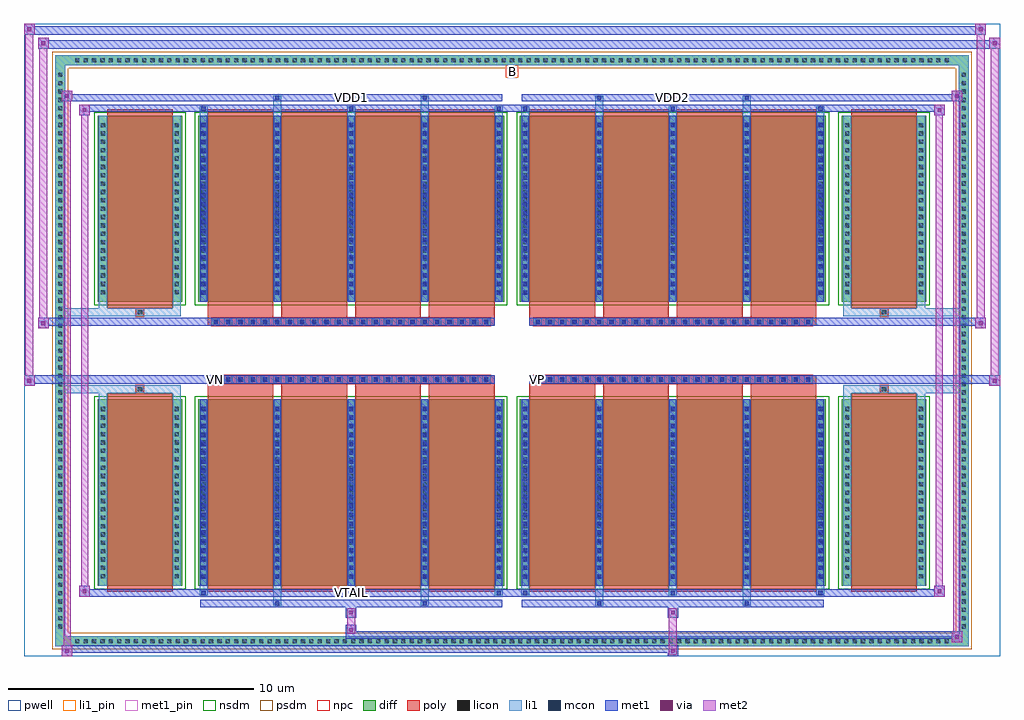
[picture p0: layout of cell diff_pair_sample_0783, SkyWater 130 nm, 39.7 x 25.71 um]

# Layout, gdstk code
import gdstk
lib = gdstk.Library(unit=1e-6, precision=5e-09)
def R(c, l, rs):  # rectangles x0, y0, x1, y1
    for r in rs: c.add(gdstk.rectangle(r[:2], r[2:], *l))
def A(c, l, x, y, w, h, nx, ny, dx, dy):  # array of equal rectangles
    R(c, l, [(x+i*dx, y+j*dy, x+i*dx+w, y+j*dy+h) for i in range(nx) for j in range(ny)])
def P(c, l, *ps):  # polygons
    for p in ps: c.add(gdstk.Polygon(p, *l))
pwell = (64, 44)
diff = (65, 20)
poly = (66, 20)
licon = (66, 44)
li1_pin = (67, 16)
li1 = (67, 20)
mcon = (67, 44)
met1_pin = (68, 16)
met1 = (68, 20)
via = (68, 44)
met2 = (69, 20)
nsdm = (93, 44)
psdm = (94, 20)
npc = (95, 20)

diff_pair_sample_0783 = lib.new_cell('diff_pair_sample_0783')
R(diff_pair_sample_0783, pwell, [(-19.85,-12.42,19.85,13.29), (-17.17,-10.61,-0.01,-0.805), (0.01,-10.61,17.17,-0.805), (-17.17,0.805,-0.01,10.61), (0.01,0.805,17.17,10.61)])
A(diff_pair_sample_0783, diff, -17.885, -12.02, 0.41, 0.41, 105, 2, 0.34, 23.63)
A(diff_pair_sample_0783, diff, -18.58, -11.425, 0.41, 0.41, 1, 67, 0, 0.34)
A(diff_pair_sample_0783, diff, 18.17, -11.425, 0.41, 0.41, 1, 67, 0, 0.34)
R(diff_pair_sample_0783, diff, [(-17.885,-12.02,17.885,-11.61), (-18.58,-11.425,-18.17,11.425), (18.17,-11.425,18.58,11.425), (-16.86,-9.565,-13.41,-1.985), (-12.77,-9.565,-0.32,-1.985), (0.32,-9.565,12.77,-1.985), (13.41,-9.565,16.86,-1.985), (-16.86,1.985,-13.41,9.565), (-12.77,1.985,-0.32,9.565), (0.32,1.985,12.77,9.565), (13.41,1.985,16.86,9.565), (-17.885,11.61,17.885,12.02)])
P(diff_pair_sample_0783, diff, [(18.58,12.02),(-18.58,12.02),(-18.58,-11.61),(-18.17,-11.61),(-18.17,11.61),(18.17,11.61),(18.17,-11.61),(-18.17,-11.61),(-18.58,-11.61),(-18.58,-12.02),(18.58,-12.02)])
A(diff_pair_sample_0783, poly, -12.38, -9.815, 2.67, 8.08, 4, 2, 3, 11.55)
A(diff_pair_sample_0783, poly, 0.71, -9.815, 2.67, 8.08, 4, 2, 3, 11.55)
A(diff_pair_sample_0783, poly, -12.38, -1.735, 2.67, 0.4, 4, 2, 3, 3.07)
A(diff_pair_sample_0783, poly, 0.71, -1.735, 2.67, 0.4, 4, 2, 3, 3.07)
A(diff_pair_sample_0783, poly, -12.21, -1.335, 0.33, 0.33, 23, 2, 0.5, 2.34)
A(diff_pair_sample_0783, poly, 0.88, -1.335, 0.33, 0.33, 23, 2, 0.5, 2.34)
R(diff_pair_sample_0783, poly, [(-16.47,-9.815,-13.8,-1.735), (13.8,-9.815,16.47,-1.735), (-15.3,-1.735,-14.97,-1.405), (-15.3,-1.735,-14.97,-1.405), (14.97,-1.735,15.3,-1.405), (14.97,-1.735,15.3,-1.405), (-12.38,-1.335,-0.71,-1.005), (0.71,-1.335,12.38,-1.005), (-12.38,1.005,-0.71,1.335), (0.71,1.005,12.38,1.335), (-15.3,1.405,-14.97,1.735), (-15.3,1.405,-14.97,1.735), (14.97,1.405,15.3,1.735), (14.97,1.405,15.3,1.735), (-16.47,1.735,-13.8,9.815), (13.8,1.735,16.47,9.815)])
A(diff_pair_sample_0783, licon, -17.765, -11.9, 0.17, 0.17, 105, 2, 0.34, 23.63)
A(diff_pair_sample_0783, licon, -18.46, -11.305, 0.17, 0.17, 1, 67, 0, 0.34)
A(diff_pair_sample_0783, licon, 18.29, -11.305, 0.17, 0.17, 1, 67, 0, 0.34)
A(diff_pair_sample_0783, licon, -16.72, -9.26, 0.17, 0.17, 1, 21, 0, 0.34)
A(diff_pair_sample_0783, licon, -13.72, -9.26, 0.17, 0.17, 1, 21, 0, 0.34)
A(diff_pair_sample_0783, licon, -12.63, -9.26, 0.17, 0.17, 5, 21, 3, 0.34)
A(diff_pair_sample_0783, licon, 0.46, -9.26, 0.17, 0.17, 5, 21, 3, 0.34)
A(diff_pair_sample_0783, licon, 13.55, -9.26, 0.17, 0.17, 1, 21, 0, 0.34)
A(diff_pair_sample_0783, licon, 16.55, -9.26, 0.17, 0.17, 1, 21, 0, 0.34)
A(diff_pair_sample_0783, licon, -12.13, -1.255, 0.17, 0.17, 23, 2, 0.5, 2.34)
A(diff_pair_sample_0783, licon, 0.96, -1.255, 0.17, 0.17, 23, 2, 0.5, 2.34)
A(diff_pair_sample_0783, licon, -16.72, 2.29, 0.17, 0.17, 1, 21, 0, 0.34)
A(diff_pair_sample_0783, licon, -13.72, 2.29, 0.17, 0.17, 1, 21, 0, 0.34)
A(diff_pair_sample_0783, licon, -12.63, 2.29, 0.17, 0.17, 5, 21, 3, 0.34)
A(diff_pair_sample_0783, licon, 0.46, 2.29, 0.17, 0.17, 5, 21, 3, 0.34)
A(diff_pair_sample_0783, licon, 13.55, 2.29, 0.17, 0.17, 1, 21, 0, 0.34)
A(diff_pair_sample_0783, licon, 16.55, 2.29, 0.17, 0.17, 1, 21, 0, 0.34)
R(diff_pair_sample_0783, licon, [(-15.22,-1.655,-15.05,-1.485), (15.05,-1.655,15.22,-1.485), (-15.22,1.485,-15.05,1.655), (15.05,1.485,15.22,1.655)])
R(diff_pair_sample_0783, li1_pin, [(-0.25,11.11,0.25,11.61)])
A(diff_pair_sample_0783, li1, -17.845, -11.98, 0.33, 0.33, 105, 2, 0.34, 23.63)
A(diff_pair_sample_0783, li1, -18.54, -11.385, 0.33, 0.33, 1, 67, 0, 0.34)
A(diff_pair_sample_0783, li1, 18.21, -11.385, 0.33, 0.33, 1, 67, 0, 0.34)
A(diff_pair_sample_0783, li1, -12.71, -9.94, 0.33, 0.375, 3, 2, 6, 19.505)
A(diff_pair_sample_0783, li1, -12.63, -9.94, 0.17, 0.17, 3, 2, 6, 19.71)
A(diff_pair_sample_0783, li1, 0.38, -9.94, 0.33, 0.375, 3, 2, 6, 19.505)
A(diff_pair_sample_0783, li1, 0.46, -9.94, 0.17, 0.17, 3, 2, 6, 19.71)
A(diff_pair_sample_0783, li1, -12.71, -9.565, 0.33, 7.58, 5, 2, 3, 11.55)
A(diff_pair_sample_0783, li1, 0.38, -9.565, 0.33, 7.58, 5, 2, 3, 11.55)
A(diff_pair_sample_0783, li1, -16.8, -9.34, 0.33, 0.33, 1, 21, 0, 0.34)
A(diff_pair_sample_0783, li1, -13.8, -9.34, 0.33, 0.33, 1, 21, 0, 0.34)
A(diff_pair_sample_0783, li1, -12.71, -9.34, 0.33, 0.33, 5, 21, 3, 0.34)
A(diff_pair_sample_0783, li1, 0.38, -9.34, 0.33, 0.33, 5, 21, 3, 0.34)
A(diff_pair_sample_0783, li1, 13.47, -9.34, 0.33, 0.33, 1, 21, 0, 0.34)
A(diff_pair_sample_0783, li1, 16.47, -9.34, 0.33, 0.33, 1, 21, 0, 0.34)
A(diff_pair_sample_0783, li1, -12.63, -9.28, 0.17, 0.17, 5, 20, 3, 0.36)
A(diff_pair_sample_0783, li1, -12.63, -9.28, 0.17, 7.01, 5, 2, 3, 11.55)
A(diff_pair_sample_0783, li1, 0.46, -9.28, 0.17, 0.17, 5, 20, 3, 0.36)
A(diff_pair_sample_0783, li1, 0.46, -9.28, 0.17, 7.01, 5, 2, 3, 11.55)
A(diff_pair_sample_0783, li1, -12.21, -1.335, 0.33, 0.33, 23, 2, 0.5, 2.34)
A(diff_pair_sample_0783, li1, 0.88, -1.335, 0.33, 0.33, 23, 2, 0.5, 2.34)
A(diff_pair_sample_0783, li1, -16.8, 2.21, 0.33, 0.33, 1, 21, 0, 0.34)
A(diff_pair_sample_0783, li1, -13.8, 2.21, 0.33, 0.33, 1, 21, 0, 0.34)
A(diff_pair_sample_0783, li1, -12.71, 2.21, 0.33, 0.33, 5, 21, 3, 0.34)
A(diff_pair_sample_0783, li1, 0.38, 2.21, 0.33, 0.33, 5, 21, 3, 0.34)
A(diff_pair_sample_0783, li1, 13.47, 2.21, 0.33, 0.33, 1, 21, 0, 0.34)
A(diff_pair_sample_0783, li1, 16.47, 2.21, 0.33, 0.33, 1, 21, 0, 0.34)
A(diff_pair_sample_0783, li1, -12.63, 2.27, 0.17, 0.17, 5, 20, 3, 0.36)
A(diff_pair_sample_0783, li1, 0.46, 2.27, 0.17, 0.17, 5, 20, 3, 0.36)
R(diff_pair_sample_0783, li1, [(-18.58,-12.02,-18.17,-11.61), (-18.58,-12.02,-18.17,-11.61), (-18.17,-12.02,18.17,-11.61), (18.17,-12.02,18.58,-11.61), (18.17,-12.02,18.58,-11.61), (-18.58,-11.61,-18.17,11.61), (18.17,-11.61,18.58,11.61), (-9.71,-10.37,-9.38,-9.565), (-9.63,-10.37,-9.46,-10.2), (-3.71,-10.37,-3.38,-9.565), (-3.63,-10.37,-3.46,-10.2), (3.38,-10.37,3.71,-9.565), (3.46,-10.37,3.63,-10.2), (9.38,-10.37,9.71,-9.565), (9.46,-10.37,9.63,-10.2), (-16.8,-9.565,-16.47,-1.985), (-13.8,-9.565,-13.47,-1.985), (13.47,-9.565,13.8,-1.985), (16.47,-9.565,16.8,-1.985), (-16.8,-1.985,-16.47,-1.405), (-13.8,-1.985,-13.47,-1.405), (13.47,-1.985,13.8,-1.405), (16.47,-1.985,16.8,-1.405), (-18.58,-1.735,-15.3,-1.405), (-16.8,-1.735,-15.3,-1.405), (-15.3,-1.735,-14.97,-1.405), (-14.97,-1.735,-13.47,-1.405), (13.47,-1.735,14.97,-1.405), (14.97,-1.735,15.3,-1.405), (14.97,-1.735,18.58,-1.405), (15.3,-1.735,16.8,-1.405), (-18.58,1.405,-15.3,1.735), (-16.8,1.405,-15.3,1.735), (-16.8,1.405,-16.47,1.985), (-15.3,1.405,-14.97,1.735), (-14.97,1.405,-13.47,1.735), (-13.8,1.405,-13.47,1.985), (13.47,1.405,14.97,1.735), (13.47,1.405,13.8,1.985), (14.97,1.405,15.3,1.735), (14.97,1.405,18.58,1.735), (15.3,1.405,16.8,1.735), (16.47,1.405,16.8,1.985), (-16.8,1.985,-16.47,9.565), (-13.8,1.985,-13.47,9.565), (13.47,1.985,13.8,9.565), (16.47,1.985,16.8,9.565), (-9.71,9.565,-9.38,10.37), (-3.71,9.565,-3.38,10.37), (3.38,9.565,3.71,10.37), (9.38,9.565,9.71,10.37), (-9.63,10.2,-9.46,10.37), (-3.63,10.2,-3.46,10.37), (3.46,10.2,3.63,10.37), (9.46,10.2,9.63,10.37), (-18.58,11.61,-18.17,12.02), (-18.58,11.61,-18.17,12.02), (-18.17,11.61,18.17,12.02), (18.17,11.61,18.58,12.02), (18.17,11.61,18.58,12.02)])
A(diff_pair_sample_0783, mcon, -12.63, -9.94, 0.17, 0.17, 3, 2, 6, 19.71)
A(diff_pair_sample_0783, mcon, 0.46, -9.94, 0.17, 0.17, 3, 2, 6, 19.71)
A(diff_pair_sample_0783, mcon, -12.63, -9.28, 0.17, 0.17, 5, 20, 3, 0.36)
A(diff_pair_sample_0783, mcon, 0.46, -9.28, 0.17, 0.17, 5, 20, 3, 0.36)
A(diff_pair_sample_0783, mcon, -12.13, -1.255, 0.17, 0.17, 23, 2, 0.5, 2.34)
A(diff_pair_sample_0783, mcon, 0.96, -1.255, 0.17, 0.17, 23, 2, 0.5, 2.34)
A(diff_pair_sample_0783, mcon, -12.63, 2.27, 0.17, 0.17, 5, 20, 3, 0.36)
A(diff_pair_sample_0783, mcon, 0.46, 2.27, 0.17, 0.17, 5, 20, 3, 0.36)
R(diff_pair_sample_0783, mcon, [(-9.63,-10.37,-9.46,-10.2), (-3.63,-10.37,-3.46,-10.2), (3.46,-10.37,3.63,-10.2), (9.46,-10.37,9.63,-10.2), (-9.63,10.2,-9.46,10.37), (-3.63,10.2,-3.46,10.37), (3.46,10.2,3.63,10.37), (9.46,10.2,9.63,10.37)])
R(diff_pair_sample_0783, met1_pin, [(-6.68,-9.98,-6.41,-9.71), (-12.18,-1.295,-11.91,-1.025), (0.91,-1.295,1.18,-1.025), (-6.68,10.16,-6.41,10.43), (6.41,10.16,6.68,10.43)])
A(diff_pair_sample_0783, met1, -12.69, -10, 0.29, 0.29, 3, 2, 6, 19.71)
A(diff_pair_sample_0783, met1, 0.4, -10, 0.29, 0.29, 3, 2, 6, 19.71)
A(diff_pair_sample_0783, met1, -12.69, -9.565, 0.29, 7.58, 5, 2, 3, 11.55)
A(diff_pair_sample_0783, met1, 0.4, -9.565, 0.29, 7.58, 5, 2, 3, 11.55)
A(diff_pair_sample_0783, met1, -12.69, -9.34, 0.29, 0.29, 5, 20, 3, 0.36)
A(diff_pair_sample_0783, met1, 0.4, -9.34, 0.29, 0.29, 5, 20, 3, 0.36)
A(diff_pair_sample_0783, met1, -12.19, -1.315, 0.29, 0.29, 23, 2, 0.5, 2.34)
A(diff_pair_sample_0783, met1, 0.9, -1.315, 0.29, 0.29, 23, 2, 0.5, 2.34)
A(diff_pair_sample_0783, met1, -12.69, 2.21, 0.29, 0.29, 5, 20, 3, 0.36)
A(diff_pair_sample_0783, met1, 0.4, 2.21, 0.29, 0.29, 5, 20, 3, 0.36)
R(diff_pair_sample_0783, met1, [(-18.31,-12.42,-17.88,-11.99), (6.33,-12.42,6.76,-11.99), (-18.31,-12.28,6.76,-11.99), (17.88,-11.85,18.31,-11.42), (-6.76,-11.71,18.31,-11.42), (-6.76,-11.57,-6.33,-11.14), (-6.76,-10.86,-6.33,-10.43), (6.33,-10.86,6.76,-10.43), (-12.69,-10.43,-0.4,-10.14), (-9.69,-10.43,-9.4,-10.14), (-3.69,-10.43,-3.4,-10.14), (0.4,-10.43,12.69,-10.14), (3.4,-10.43,3.69,-10.14), (9.4,-10.43,9.69,-10.14), (-17.6,-10,-17.17,-9.57), (-17.6,-10,-12.69,-9.71), (-12.69,-10,-0.4,-9.71), (-0.4,-10,0.4,-9.71), (0.4,-10,12.69,-9.71), (12.69,-10,17.6,-9.71), (17.17,-10,17.6,-9.57), (-19.85,-1.435,-19.42,-1.005), (19.42,-1.435,19.85,-1.005), (-19.85,-1.335,-0.71,-1.005), (-12.38,-1.335,-0.71,-1.005), (0.71,-1.335,12.38,-1.005), (0.71,-1.335,19.85,-1.005), (-19.28,0.905,-18.85,1.335), (18.85,0.905,19.28,1.335), (-19.28,1.005,-12.38,1.335), (-12.38,1.005,-0.71,1.335), (0.71,1.005,12.38,1.335), (12.38,1.005,19.28,1.335), (-17.6,9.57,-17.17,10), (17.17,9.57,17.6,10), (-17.6,9.71,-12.69,10), (-12.69,9.71,-0.4,10), (-0.4,9.71,0.4,10), (0.4,9.71,12.69,10), (12.69,9.71,17.6,10), (-18.31,10.14,-17.88,10.57), (-18.31,10.14,-12.69,10.43), (-12.69,10.14,-0.4,10.43), (-9.69,10.14,-9.4,10.43), (-3.69,10.14,-3.4,10.43), (0.4,10.14,12.69,10.43), (3.4,10.14,3.69,10.43), (9.4,10.14,9.69,10.43), (12.69,10.14,18.31,10.43), (17.88,10.14,18.31,10.57), (-19.28,12.29,-18.85,12.72), (-19.28,12.29,-17.17,12.62), (-17.17,12.29,17.17,12.62), (17.17,12.29,19.85,12.62), (19.42,12.29,19.85,12.72), (-19.85,12.86,-19.42,13.29), (-19.85,12.86,-17.17,13.19), (-17.17,12.86,17.17,13.19), (17.17,12.86,19.28,13.19), (18.85,12.86,19.28,13.29)])
R(diff_pair_sample_0783, via, [(-18.17,-12.28,-18.02,-12.13), (6.47,-12.28,6.62,-12.13), (18.02,-11.71,18.17,-11.56), (-6.62,-11.43,-6.47,-11.28), (-6.62,-10.72,-6.47,-10.57), (6.47,-10.72,6.62,-10.57), (-17.46,-9.86,-17.31,-9.71), (17.31,-9.86,17.46,-9.71), (-19.71,-1.295,-19.56,-1.145), (19.56,-1.295,19.71,-1.145), (-19.14,1.045,-18.99,1.195), (18.99,1.045,19.14,1.195), (-17.46,9.71,-17.31,9.86), (17.31,9.71,17.46,9.86), (-18.17,10.28,-18.02,10.43), (18.02,10.28,18.17,10.43), (-19.14,12.43,-18.99,12.58), (19.56,12.43,19.71,12.58), (-19.71,13,-19.56,13.15), (18.99,13,19.14,13.15)])
R(diff_pair_sample_0783, met2, [(-18.31,-12.42,-17.88,-11.99), (-18.24,-12.42,-17.95,10.57), (-17.95,-12.42,-17.88,-11.99), (-18.26,-12.37,-17.93,-12.04), (6.38,-12.37,6.71,-12.04), (6.38,-12.04,6.71,-10.81), (17.88,-11.85,18.31,-11.42), (17.95,-11.85,18.24,10.57), (18.24,-11.85,18.31,-11.42), (17.93,-11.8,18.26,-11.47), (-6.71,-11.52,-6.38,-11.19), (-6.71,-11.19,-6.38,-10.81), (-6.71,-10.81,-6.38,-10.48), (6.38,-10.81,6.71,-10.48), (-17.6,-10,-17.17,-9.57), (-17.53,-10,-17.24,10), (-17.24,-10,-17.17,-9.57), (17.17,-10,17.6,-9.57), (17.24,-10,17.53,10), (17.53,-10,17.6,-9.57), (-17.55,-9.95,-17.22,-9.62), (17.22,-9.95,17.55,-9.62), (-19.85,-1.435,-19.42,-1.005), (-19.8,-1.435,-19.47,13.29), (-19.47,-1.435,-19.42,-1.005), (19.42,-1.435,19.85,-1.005), (19.47,-1.435,19.8,12.72), (19.8,-1.435,19.85,-1.005), (-19.8,-1.385,-19.47,-1.055), (19.47,-1.385,19.8,-1.055), (-19.28,0.905,-18.85,1.335), (-19.23,0.905,-18.9,12.72), (-18.9,0.905,-18.85,1.335), (18.85,0.905,19.28,1.335), (18.9,0.905,19.23,13.29), (19.23,0.905,19.28,1.335), (-19.23,0.955,-18.9,1.285), (18.9,0.955,19.23,1.285), (-17.6,9.57,-17.17,10), (-17.24,9.57,-17.17,10), (17.17,9.57,17.6,10), (17.53,9.57,17.6,10), (-17.55,9.62,-17.22,9.95), (17.22,9.62,17.55,9.95), (-18.31,10.14,-17.88,10.57), (-17.95,10.14,-17.88,10.57), (17.88,10.14,18.31,10.57), (18.24,10.14,18.31,10.57), (-18.26,10.19,-17.93,10.52), (17.93,10.19,18.26,10.52), (-19.28,12.29,-18.85,12.72), (-18.9,12.29,-18.85,12.72), (19.42,12.29,19.85,12.72), (19.8,12.29,19.85,12.72), (-19.23,12.34,-18.9,12.67), (19.47,12.34,19.8,12.67), (-19.85,12.86,-19.42,13.29), (-19.47,12.86,-19.42,13.29), (18.85,12.86,19.28,13.29), (19.23,12.86,19.28,13.29), (-19.8,12.91,-19.47,13.24), (18.9,12.91,19.23,13.24)])
R(diff_pair_sample_0783, nsdm, [(-16.99,-9.695,-13.28,-1.855), (-12.9,-9.695,-0.19,-1.855), (0.19,-9.695,12.9,-1.855), (13.28,-9.695,16.99,-1.855), (-16.99,1.855,-13.28,9.695), (-12.9,1.855,-0.19,9.695), (0.19,1.855,12.9,9.695), (13.28,1.855,16.99,9.695)])
P(diff_pair_sample_0783, psdm, [(18.71,12.15),(-18.71,12.15),(-18.71,-11.48),(-18.04,-11.48),(-18.04,11.48),(18.04,11.48),(18.04,-11.48),(-18.04,-11.48),(-18.71,-11.48),(-18.71,-12.15),(18.71,-12.15)])
A(diff_pair_sample_0783, npc, -12.23, -1.355, 0.37, 0.37, 23, 2, 0.5, 2.34)
A(diff_pair_sample_0783, npc, 0.86, -1.355, 0.37, 0.37, 23, 2, 0.5, 2.34)
R(diff_pair_sample_0783, npc, [(-15.32,-1.755,-14.95,-1.385), (14.95,-1.755,15.32,-1.385), (-12.23,-1.355,-11.36,-0.985), (-12.23,-1.355,-11.36,-0.985), (-11.73,-1.355,-10.86,-0.985), (-11.73,-1.355,-10.86,-0.985), (-11.23,-1.355,-10.36,-0.985), (-11.23,-1.355,-10.36,-0.985), (-10.73,-1.355,-9.86,-0.985), (-10.73,-1.355,-9.86,-0.985), (-10.23,-1.355,-9.36,-0.985), (-10.23,-1.355,-9.36,-0.985), (-9.73,-1.355,-8.86,-0.985), (-9.73,-1.355,-8.86,-0.985), (-9.23,-1.355,-8.36,-0.985), (-9.23,-1.355,-8.36,-0.985), (-8.73,-1.355,-7.86,-0.985), (-8.73,-1.355,-7.86,-0.985), (-8.23,-1.355,-7.36,-0.985), (-8.23,-1.355,-7.36,-0.985), (-7.73,-1.355,-6.86,-0.985), (-7.73,-1.355,-6.86,-0.985), (-7.23,-1.355,-6.36,-0.985), (-7.23,-1.355,-6.36,-0.985), (-6.73,-1.355,-5.86,-0.985), (-6.73,-1.355,-5.86,-0.985), (-6.23,-1.355,-5.36,-0.985), (-6.23,-1.355,-5.36,-0.985), (-5.73,-1.355,-4.86,-0.985), (-5.73,-1.355,-4.86,-0.985), (-5.23,-1.355,-4.36,-0.985), (-5.23,-1.355,-4.36,-0.985), (-4.73,-1.355,-3.86,-0.985), (-4.73,-1.355,-3.86,-0.985), (-4.23,-1.355,-3.36,-0.985), (-4.23,-1.355,-3.36,-0.985), (-3.73,-1.355,-2.86,-0.985), (-3.73,-1.355,-2.86,-0.985), (-3.23,-1.355,-2.36,-0.985), (-3.23,-1.355,-2.36,-0.985), (-2.73,-1.355,-1.86,-0.985), (-2.73,-1.355,-1.86,-0.985), (-2.23,-1.355,-1.36,-0.985), (-2.23,-1.355,-1.36,-0.985), (-1.73,-1.355,-0.86,-0.985), (-1.73,-1.355,-0.86,-0.985), (0.86,-1.355,1.73,-0.985), (0.86,-1.355,1.73,-0.985), (1.36,-1.355,2.23,-0.985), (1.36,-1.355,2.23,-0.985), (1.86,-1.355,2.73,-0.985), (1.86,-1.355,2.73,-0.985), (2.36,-1.355,3.23,-0.985), (2.36,-1.355,3.23,-0.985), (2.86,-1.355,3.73,-0.985), (2.86,-1.355,3.73,-0.985), (3.36,-1.355,4.23,-0.985), (3.36,-1.355,4.23,-0.985), (3.86,-1.355,4.73,-0.985), (3.86,-1.355,4.73,-0.985), (4.36,-1.355,5.23,-0.985), (4.36,-1.355,5.23,-0.985), (4.86,-1.355,5.73,-0.985), (4.86,-1.355,5.73,-0.985), (5.36,-1.355,6.23,-0.985), (5.36,-1.355,6.23,-0.985), (5.86,-1.355,6.73,-0.985), (5.86,-1.355,6.73,-0.985), (6.36,-1.355,7.23,-0.985), (6.36,-1.355,7.23,-0.985), (6.86,-1.355,7.73,-0.985), (6.86,-1.355,7.73,-0.985), (7.36,-1.355,8.23,-0.985), (7.36,-1.355,8.23,-0.985), (7.86,-1.355,8.73,-0.985), (7.86,-1.355,8.73,-0.985), (8.36,-1.355,9.23,-0.985), (8.36,-1.355,9.23,-0.985), (8.86,-1.355,9.73,-0.985), (8.86,-1.355,9.73,-0.985), (9.36,-1.355,10.23,-0.985), (9.36,-1.355,10.23,-0.985), (9.86,-1.355,10.73,-0.985), (9.86,-1.355,10.73,-0.985), (10.36,-1.355,11.23,-0.985), (10.36,-1.355,11.23,-0.985), (10.86,-1.355,11.73,-0.985), (10.86,-1.355,11.73,-0.985), (11.36,-1.355,12.23,-0.985), (11.36,-1.355,12.23,-0.985), (-12.23,0.985,-11.36,1.355), (-12.23,0.985,-11.36,1.355), (-11.73,0.985,-10.86,1.355), (-11.73,0.985,-10.86,1.355), (-11.23,0.985,-10.36,1.355), (-11.23,0.985,-10.36,1.355), (-10.73,0.985,-9.86,1.355), (-10.73,0.985,-9.86,1.355), (-10.23,0.985,-9.36,1.355), (-10.23,0.985,-9.36,1.355), (-9.73,0.985,-8.86,1.355), (-9.73,0.985,-8.86,1.355), (-9.23,0.985,-8.36,1.355), (-9.23,0.985,-8.36,1.355), (-8.73,0.985,-7.86,1.355), (-8.73,0.985,-7.86,1.355), (-8.23,0.985,-7.36,1.355), (-8.23,0.985,-7.36,1.355), (-7.73,0.985,-6.86,1.355), (-7.73,0.985,-6.86,1.355), (-7.23,0.985,-6.36,1.355), (-7.23,0.985,-6.36,1.355), (-6.73,0.985,-5.86,1.355), (-6.73,0.985,-5.86,1.355), (-6.23,0.985,-5.36,1.355), (-6.23,0.985,-5.36,1.355), (-5.73,0.985,-4.86,1.355), (-5.73,0.985,-4.86,1.355), (-5.23,0.985,-4.36,1.355), (-5.23,0.985,-4.36,1.355), (-4.73,0.985,-3.86,1.355), (-4.73,0.985,-3.86,1.355), (-4.23,0.985,-3.36,1.355), (-4.23,0.985,-3.36,1.355), (-3.73,0.985,-2.86,1.355), (-3.73,0.985,-2.86,1.355), (-3.23,0.985,-2.36,1.355), (-3.23,0.985,-2.36,1.355), (-2.73,0.985,-1.86,1.355), (-2.73,0.985,-1.86,1.355), (-2.23,0.985,-1.36,1.355), (-2.23,0.985,-1.36,1.355), (-1.73,0.985,-0.86,1.355), (-1.73,0.985,-0.86,1.355), (0.86,0.985,1.73,1.355), (0.86,0.985,1.73,1.355), (1.36,0.985,2.23,1.355), (1.36,0.985,2.23,1.355), (1.86,0.985,2.73,1.355), (1.86,0.985,2.73,1.355), (2.36,0.985,3.23,1.355), (2.36,0.985,3.23,1.355), (2.86,0.985,3.73,1.355), (2.86,0.985,3.73,1.355), (3.36,0.985,4.23,1.355), (3.36,0.985,4.23,1.355), (3.86,0.985,4.73,1.355), (3.86,0.985,4.73,1.355), (4.36,0.985,5.23,1.355), (4.36,0.985,5.23,1.355), (4.86,0.985,5.73,1.355), (4.86,0.985,5.73,1.355), (5.36,0.985,6.23,1.355), (5.36,0.985,6.23,1.355), (5.86,0.985,6.73,1.355), (5.86,0.985,6.73,1.355), (6.36,0.985,7.23,1.355), (6.36,0.985,7.23,1.355), (6.86,0.985,7.73,1.355), (6.86,0.985,7.73,1.355), (7.36,0.985,8.23,1.355), (7.36,0.985,8.23,1.355), (7.86,0.985,8.73,1.355), (7.86,0.985,8.73,1.355), (8.36,0.985,9.23,1.355), (8.36,0.985,9.23,1.355), (8.86,0.985,9.73,1.355), (8.86,0.985,9.73,1.355), (9.36,0.985,10.23,1.355), (9.36,0.985,10.23,1.355), (9.86,0.985,10.73,1.355), (9.86,0.985,10.73,1.355), (10.36,0.985,11.23,1.355), (10.36,0.985,11.23,1.355), (10.86,0.985,11.73,1.355), (10.86,0.985,11.73,1.355), (11.36,0.985,12.23,1.355), (11.36,0.985,12.23,1.355), (-15.32,1.385,-14.95,1.755), (14.95,1.385,15.32,1.755)])
diff_pair_sample_0783.add(gdstk.Label('VTAIL', (-6.545,-9.845), layer=68, texttype=5))
diff_pair_sample_0783.add(gdstk.Label('VN', (-12.045,-1.16), layer=68, texttype=5))
diff_pair_sample_0783.add(gdstk.Label('VP', (1.045,-1.16), layer=68, texttype=5))
diff_pair_sample_0783.add(gdstk.Label('B', (0,11.36), layer=67, texttype=5))
diff_pair_sample_0783.add(gdstk.Label('VDD2', (6.545,10.295), layer=68, texttype=5))
diff_pair_sample_0783.add(gdstk.Label('VDD1', (-6.545,10.295), layer=68, texttype=5))

lib.write_gds('diff_pair_sample_0783.gds')
